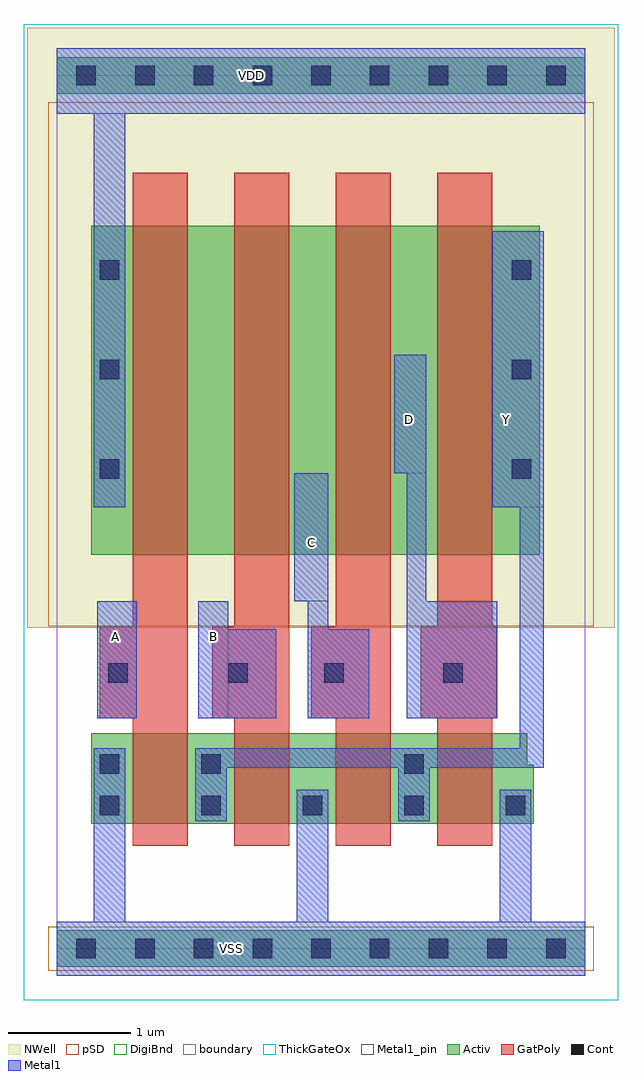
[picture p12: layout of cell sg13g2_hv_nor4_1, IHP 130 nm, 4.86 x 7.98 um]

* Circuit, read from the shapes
.subckt sg13g2_hv_nor4_1 A B C D VDD VSS Y
XM1 Y A VSS VSS sg13_hv_nmos w=0.74u l=0.45u
XM2 VSS B Y VSS sg13_hv_nmos w=0.74u l=0.45u
XM3 Y C VSS VSS sg13_hv_nmos w=0.74u l=0.45u
XM4 VSS D Y VSS sg13_hv_nmos w=0.74u l=0.45u
XM5 n1 A VDD VDD sg13_hv_pmos w=2.69u l=0.45u
XM6 n2 B n1 VDD sg13_hv_pmos w=2.69u l=0.45u
XM7 n3 C n2 VDD sg13_hv_pmos w=2.69u l=0.45u
XM8 Y D n3 VDD sg13_hv_pmos w=2.69u l=0.45u
.ends

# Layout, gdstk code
import gdstk
lib = gdstk.Library(unit=1e-6, precision=1e-09)
def R(c, l, rs):  # rectangles x0, y0, x1, y1
    for r in rs: c.add(gdstk.rectangle(r[:2], r[2:], *l))
def A(c, l, x, y, w, h, nx, ny, dx, dy):  # array of equal rectangles
    R(c, l, [(x+i*dx, y+j*dy, x+i*dx+w, y+j*dy+h) for i in range(nx) for j in range(ny)])
def P(c, l, *ps):  # polygons
    for p in ps: c.add(gdstk.Polygon(p, *l))
Activ = (1, 0)
GatPoly = (5, 0)
Cont = (6, 0)
Metal1 = (8, 0)
Metal1_pin = (8, 2)
pSD = (14, 0)
DigiBnd = (16, 0)
NWell = (31, 0)
ThickGateOx = (44, 0)
boundary = (189, 4)

sg13g2_hv_nor4_1 = lib.new_cell('sg13g2_hv_nor4_1')
R(sg13g2_hv_nor4_1, Activ, [(0,-0.15,4.32,0.15), (0.28,3.22,3.95,5.91), (0,6.99,4.32,7.29)])
P(sg13g2_hv_nor4_1, Activ, [(0.28,1.02),(0.28,1.76),(3.845,1.76),(3.845,1.505),(3.9,1.505),(3.9,1.02)])
P(sg13g2_hv_nor4_1, GatPoly, [(0.62,0.84),(0.62,1.885),(0.35,1.885),(0.35,2.63),(0.62,2.63),(0.62,6.345),(1.07,6.345),(1.07,0.84)],
  [(1.45,0.84),(1.45,1.885),(1.27,1.885),(1.27,2.63),(1.45,2.63),(1.45,6.345),(1.9,6.345),(1.9,0.84)],
  [(2.28,0.84),(2.28,1.885),(2.08,1.885),(2.08,2.63),(2.28,2.63),(2.28,6.345),(2.73,6.345),(2.73,0.84)],
  [(3.11,0.84),(3.11,1.885),(2.975,1.885),(2.975,2.63),(3.11,2.63),(3.11,6.345),(3.56,6.345),(3.56,2.63),(3.595,2.63),(3.595,1.885),(3.56,1.885),(3.56,0.84)])
A(sg13g2_hv_nor4_1, Cont, 0.16, -0.08, 0.16, 0.16, 9, 2, 0.48, 7.14)
A(sg13g2_hv_nor4_1, Cont, 0.35, 1.09, 0.16, 0.16, 5, 1, 0.83, 0)
A(sg13g2_hv_nor4_1, Cont, 0.35, 3.84, 0.16, 0.16, 1, 3, 0, 0.815)
A(sg13g2_hv_nor4_1, Cont, 3.72, 3.84, 0.16, 0.16, 1, 3, 0, 0.815)
R(sg13g2_hv_nor4_1, Cont, [(0.35,1.43,0.51,1.59), (1.18,1.43,1.34,1.59), (2.84,1.43,3,1.59), (0.42,2.175,0.58,2.335), (1.4,2.175,1.56,2.335), (2.185,2.175,2.345,2.335), (3.16,2.175,3.32,2.335)])
R(sg13g2_hv_nor4_1, Metal1, [(0,-0.22,4.32,0.22), (0.3,0.22,0.56,1.64), (1.96,0.22,2.22,1.3), (3.62,0.22,3.88,1.3), (0.33,1.885,0.655,2.84), (0.3,3.61,0.56,6.825), (0,6.825,4.32,7.36)])
P(sg13g2_hv_nor4_1, Metal1, [(2.86,1.885),(2.86,3.885),(2.76,3.885),(2.76,4.855),(3.02,4.855),(3.02,2.84),(3.6,2.84),(3.6,1.885)],
  [(2.05,1.885),(2.05,2.84),(1.94,2.84),(1.94,3.885),(2.22,3.885),(2.22,2.61),(2.555,2.61),(2.555,1.885)],
  [(1.13,1.04),(1.13,1.64),(3.785,1.64),(3.785,3.61),(3.56,3.61),(3.56,5.865),(3.98,5.865),(3.98,1.48),(3.05,1.48),(3.05,1.04),(2.79,1.04),(2.79,1.48),(1.39,1.48),(1.39,1.04)],
  [(1.155,1.885),(1.155,2.84),(1.4,2.84),(1.4,2.61),(1.795,2.61),(1.795,1.885)])
R(sg13g2_hv_nor4_1, Metal1_pin, [(0,-0.22,4.32,0.22), (0.33,1.885,0.655,2.84), (1.155,1.885,1.4,2.84), (1.94,2.84,2.22,3.885), (3.56,3.61,3.98,5.865), (2.76,3.885,3.02,4.855), (0,6.825,4.32,7.36)])
R(sg13g2_hv_nor4_1, pSD, [(-0.07,-0.18,4.39,0.18), (-0.07,2.635,4.39,6.92)])
R(sg13g2_hv_nor4_1, DigiBnd, [(0,0,4.32,7.14)])
R(sg13g2_hv_nor4_1, NWell, [(-0.24,2.625,4.56,7.53)])
R(sg13g2_hv_nor4_1, ThickGateOx, [(-0.27,-0.42,4.59,7.56)])
R(sg13g2_hv_nor4_1, boundary, [(0,0,4.32,7.14)])
sg13g2_hv_nor4_1.add(gdstk.Label('VSS', (1.43,0.005), layer=8, texttype=25))
sg13g2_hv_nor4_1.add(gdstk.Label('VDD', (1.59,7.14), layer=8, texttype=25))
sg13g2_hv_nor4_1.add(gdstk.Label('B', (1.28,2.555), layer=8, texttype=25))
sg13g2_hv_nor4_1.add(gdstk.Label('C', (2.08,3.32), layer=8, texttype=25))
sg13g2_hv_nor4_1.add(gdstk.Label('Y', (3.68,4.33), layer=8, texttype=25))
sg13g2_hv_nor4_1.add(gdstk.Label('A', (0.48,2.555), layer=8, texttype=25))
sg13g2_hv_nor4_1.add(gdstk.Label('D', (2.88,4.33), layer=8, texttype=25))

lib.write_gds('sg13g2_hv_nor4_1.gds')
